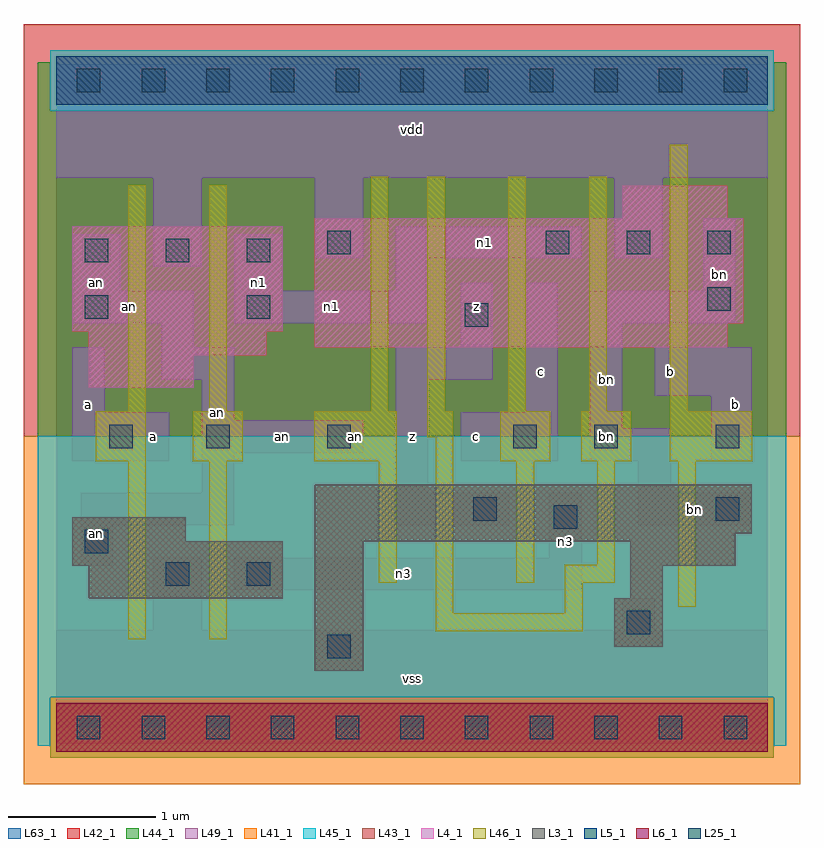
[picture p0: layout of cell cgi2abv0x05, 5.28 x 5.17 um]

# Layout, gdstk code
import gdstk
lib = gdstk.Library(unit=1e-6, precision=1e-09)
def R(c, l, rs):  # rectangles x0, y0, x1, y1
    for r in rs: c.add(gdstk.rectangle(r[:2], r[2:], *l))
def A(c, l, x, y, w, h, nx, ny, dx, dy):  # array of equal rectangles
    R(c, l, [(x+i*dx, y+j*dy, x+i*dx+w, y+j*dy+h) for i in range(nx) for j in range(ny)])
L3_1 = (3, 1)
L4_1 = (4, 1)
L5_1 = (5, 1)
L6_1 = (6, 1)
L25_1 = (25, 1)
L41_1 = (41, 1)
L42_1 = (42, 1)
L43_1 = (43, 1)
L44_1 = (44, 1)
L45_1 = (45, 1)
L46_1 = (46, 1)
L49_1 = (49, 1)
L63_1 = (63, 1)

cgi2abv0x05 = lib.new_cell('cgi2abv0x05')
R(cgi2abv0x05, L3_1, [(1.76,0.385,2.09,1.265), (3.795,0.55,4.125,0.88), (0.22,0.88,1.54,1.1), (3.905,0.88,4.125,1.1), (0.11,1.1,1.54,1.265), (3.905,1.1,4.62,1.265), (0.11,1.265,0.88,1.43), (1.76,1.265,4.62,1.32), (1.76,1.32,4.73,1.65)])
R(cgi2abv0x05, L4_1, [(0.22,2.31,0.935,2.53), (0.22,2.53,1.43,2.695), (1.76,2.585,4.565,2.75), (0.11,2.695,1.54,3.41), (1.76,2.75,4.675,3.465), (3.85,3.465,4.565,3.685)])
R(cgi2abv0x05, L5_1, [(0,4.235,4.84,4.565)])
R(cgi2abv0x05, L6_1, [(0,-0.165,4.84,0.165)])
A(cgi2abv0x05, L25_1, 0.14, -0.08, 0.16, 0.16, 11, 2, 0.44, 4.4)
A(cgi2abv0x05, L25_1, 0.195, 3.165, 0.16, 0.16, 3, 1, 0.55, 0)
A(cgi2abv0x05, L25_1, 3.33, 3.22, 0.16, 0.16, 3, 1, 0.55, 0)
R(cgi2abv0x05, L25_1, [(1.845,0.47,2.005,0.63), (3.88,0.635,4.04,0.795), (0.745,0.965,0.905,1.125), (1.295,0.965,1.455,1.125), (0.195,1.185,0.355,1.345), (3.385,1.35,3.545,1.51), (2.835,1.405,2.995,1.565), (4.485,1.405,4.645,1.565), (0.36,1.9,0.52,2.06), (1.02,1.9,1.18,2.06), (1.845,1.9,2.005,2.06), (3.11,1.9,3.27,2.06), (3.66,1.9,3.82,2.06), (4.485,1.9,4.645,2.06), (2.78,2.725,2.94,2.885), (0.195,2.78,0.355,2.94), (1.295,2.78,1.455,2.94), (4.43,2.835,4.59,2.995), (1.845,3.22,2.005,3.38)])
R(cgi2abv0x05, L41_1, [(-0.22,-0.385,5.06,1.98)])
R(cgi2abv0x05, L42_1, [(-0.22,1.98,5.06,4.785)])
R(cgi2abv0x05, L43_1, [(0,-0.165,4.84,0.165), (1.76,0.385,2.09,1.265), (3.795,0.55,4.125,0.88), (0.22,0.88,1.54,1.1), (3.905,0.88,4.125,1.1), (0.11,1.1,1.54,1.265), (3.905,1.1,4.62,1.265), (0.11,1.265,0.88,1.43), (1.76,1.265,4.62,1.32), (1.76,1.32,4.73,1.65), (0.22,2.31,0.935,2.53), (0.22,2.53,1.43,2.695), (1.76,2.585,4.565,2.75), (0.11,2.695,1.54,3.41), (1.76,2.75,4.675,3.465), (3.85,3.465,4.565,3.685), (0,4.235,4.84,4.565)])
R(cgi2abv0x05, L44_1, [(-0.04,-0.205,4.88,0.205), (-0.125,1.98,4.965,4.195), (-0.125,4.195,-0.04,4.525), (4.88,4.195,4.965,4.525)])
R(cgi2abv0x05, L45_1, [(-0.125,-0.125,-0.04,0.205), (4.88,-0.125,4.965,0.205), (-0.125,0.205,4.965,1.98), (-0.04,4.195,4.88,4.605)])
A(cgi2abv0x05, L46_1, 2.525, 2.15, 0.12, 1.595, 3, 1, 0.55, 0)
R(cgi2abv0x05, L46_1, [(0.49,0.6,0.61,1.81), (1.04,0.6,1.16,1.81), (2.58,0.655,3.58,0.775), (2.58,0.775,2.7,1.975), (3.46,0.775,3.58,0.985), (4.23,0.82,4.35,1.81), (2.195,0.985,2.315,1.81), (3.13,0.985,3.25,1.81), (3.46,0.985,3.8,1.105), (3.68,1.105,3.8,1.81), (0.27,1.81,0.61,2.15), (0.93,1.81,1.27,2.15), (1.755,1.81,2.315,2.15), (3.02,1.81,3.36,2.15), (3.57,1.81,3.91,2.15), (4.175,1.81,4.735,2.15), (2.525,1.975,2.7,2.15), (0.49,2.15,0.61,3.69), (1.04,2.15,1.16,3.69), (2.14,2.15,2.26,3.745), (4.175,2.15,4.295,3.965)])
R(cgi2abv0x05, L49_1, [(0,-0.11,4.84,0.66), (0.66,0.66,0.99,1.155), (3.85,0.66,4.07,0.88), (1.21,0.935,3.575,1.155), (0.165,1.1,0.385,1.375), (3.355,1.155,3.575,1.595), (0.165,1.375,1.21,1.595), (2.31,1.375,3.08,1.595), (3.96,1.375,4.73,1.595), (0.99,1.595,1.21,1.87), (2.31,1.595,2.53,2.365), (3.96,1.595,4.18,1.815), (0.11,1.815,0.77,2.145), (2.75,1.815,3.41,2.145), (3.63,1.815,4.18,2.035), (4.455,1.815,4.73,2.255), (0.99,1.87,2.09,2.09), (3.63,2.035,3.85,2.75), (0.99,2.09,1.21,2.365), (0.11,2.145,0.33,2.585), (3.19,2.145,3.41,3.025), (4.07,2.255,4.73,2.585), (0.715,2.365,1.21,2.585), (2.31,2.365,2.97,2.585), (0.715,2.585,0.935,2.75), (2.75,2.585,2.97,3.025), (0.11,2.75,0.935,2.97), (1.21,2.75,2.53,2.97), (3.63,2.75,4.62,2.97), (0.11,2.97,0.44,3.355), (1.21,2.97,1.54,3.355), (2.31,2.97,2.53,3.19), (4.4,2.97,4.62,3.465), (0.66,3.135,0.99,3.74), (1.76,3.19,2.09,3.74), (2.31,3.19,3.575,3.41), (3.795,3.19,4.125,3.74), (0,3.74,4.84,4.51)])
R(cgi2abv0x05, L63_1, [(0,0,4.84,4.4)])
cgi2abv0x05.add(gdstk.Label('an', (1.1,2.145), layer=46, texttype=1))
cgi2abv0x05.add(gdstk.Label('an', (2.035,1.98), layer=46, texttype=1))
cgi2abv0x05.add(gdstk.Label('bn', (3.74,1.98), layer=49, texttype=1))
cgi2abv0x05.add(gdstk.Label('an', (0.275,1.32), layer=49, texttype=1))
cgi2abv0x05.add(gdstk.Label('a', (0.22,2.2), layer=49, texttype=1))
cgi2abv0x05.add(gdstk.Label('a', (0.66,1.98), layer=49, texttype=1))
cgi2abv0x05.add(gdstk.Label('an', (0.275,3.025), layer=49, texttype=1))
cgi2abv0x05.add(gdstk.Label('n1', (1.375,3.025), layer=49, texttype=1))
cgi2abv0x05.add(gdstk.Label('an', (0.495,2.86), layer=49, texttype=1))
cgi2abv0x05.add(gdstk.Label('vss', (2.42,0.33), layer=49, texttype=1))
cgi2abv0x05.add(gdstk.Label('an', (1.54,1.98), layer=49, texttype=1))
cgi2abv0x05.add(gdstk.Label('z', (2.42,1.98), layer=49, texttype=1))
cgi2abv0x05.add(gdstk.Label('n1', (1.87,2.86), layer=49, texttype=1))
cgi2abv0x05.add(gdstk.Label('vdd', (2.42,4.07), layer=49, texttype=1))
cgi2abv0x05.add(gdstk.Label('n3', (2.365,1.045), layer=49, texttype=1))
cgi2abv0x05.add(gdstk.Label('n3', (3.465,1.265), layer=49, texttype=1))
cgi2abv0x05.add(gdstk.Label('c', (2.86,1.98), layer=49, texttype=1))
cgi2abv0x05.add(gdstk.Label('c', (3.3,2.42), layer=49, texttype=1))
cgi2abv0x05.add(gdstk.Label('z', (2.86,2.86), layer=49, texttype=1))
cgi2abv0x05.add(gdstk.Label('bn', (3.74,2.365), layer=49, texttype=1))
cgi2abv0x05.add(gdstk.Label('n1', (2.915,3.3), layer=49, texttype=1))
cgi2abv0x05.add(gdstk.Label('bn', (4.345,1.485), layer=49, texttype=1))
cgi2abv0x05.add(gdstk.Label('b', (4.62,2.2), layer=49, texttype=1))
cgi2abv0x05.add(gdstk.Label('b', (4.18,2.42), layer=49, texttype=1))
cgi2abv0x05.add(gdstk.Label('bn', (4.51,3.08), layer=49, texttype=1))

lib.write_gds('cgi2abv0x05.gds')
